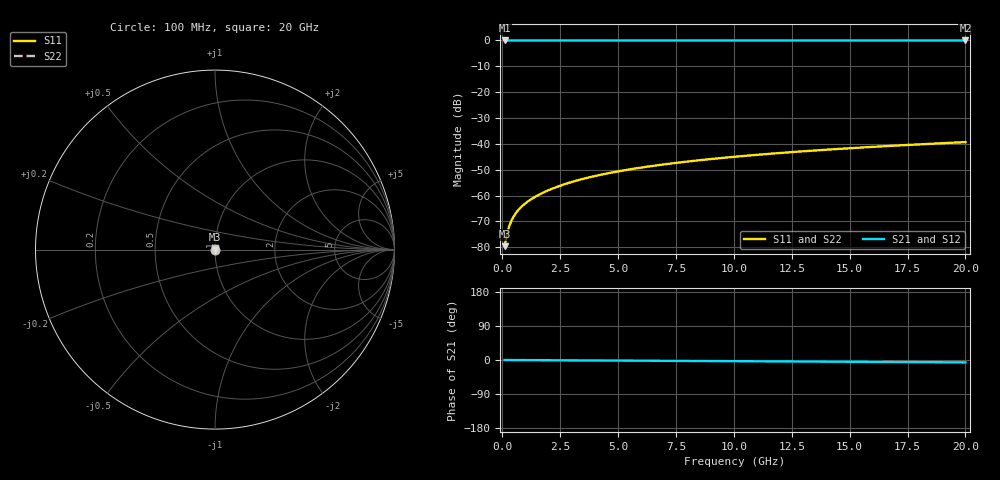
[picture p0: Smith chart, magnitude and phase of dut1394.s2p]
! Touchstone file exported from HFSS 2026.1.0
!  File:  C:/ffzhzh/LocalFiles/Ansys_Project_Files/temp_train_TSV_1394_1783196717_18472.aedt
!  Generated:  04:26:38 AM Jul  5, 2026
!  Design:  TSV
!  Project:  temp_train_TSV_1394_1783196717_18472
! Variables:
!  h_bsmrdl = 2um
!  h_ox = 20um
!  h_rdl = 5um
!  h_sub = 55.89um
!  h_tmrdl = 5um
!  h_tsv = 55.89um
!  h_via = 3um
!  l_bsmrdl = 300um
!  l_sub = 426.78um
!  l_tmrdl = 200um
!  m_sub = 200um
!  pitch = 58.49um
!  r_tsv = 13.39um
!  s_tmrdl = 10um
!  w_bsmrdl = 18um
!  w_sub = 500um
!  w_tmrdl = 12um
!  x_tsv_center1 = 206um
!  x_tsv_center2 = 524um
!  x_tsv_center3 = 736um
!  x_tsv_center4 = 1054um
!  x_tsv_center5 = 1266um
!  x_tsv_center6 = 1584um
# GHz S MA R 50.000000
! Terminal data exported
! Port[1] = TSV1_1_T1
! Port[2] = TSV1_1_T2
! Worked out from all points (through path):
!   200 points, 100 MHz to 20 GHz, reference 50 ohm
!   highest |S21| = 0.00 dB at 100 MHz (marker M1); lowest = 0.0 dB at 20 GHz (marker M2)
!   lowest |S11| = -79.6 dB at 100 MHz (marker M3), VSWR 1.00, Z = 50 + j0.00832 ohm
!   |S11| at or under -10 dB: start of sweep to end of sweep
!   |S22| runs from -79.6 to -39.3 dB; largest |S21 - S12| = 1e-15
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0.1  0.0001051 52.3  0.9999 -0.0  0.9999 -0.0  0.0001051 52.3
! Gamma 0 0 0 0
! Port Impedance 50 0 50 0
0.2  0.0001797 65.9  0.9999 -0.1  0.9999 -0.1  0.0001797 65.9
0.3  0.0002563 70.3  0.9999 -0.1  0.9999 -0.1  0.0002563 70.3
0.4  0.00033 71.9  0.9999 -0.1  0.9999 -0.1  0.00033 71.9
0.5  0.0004 72.7  0.9999 -0.2  0.9999 -0.2  0.0004 72.7
0.6  0.0004665 73.1  0.9999 -0.2  0.9999 -0.2  0.0004665 73.1
0.7  0.00053 73.5  0.9999 -0.2  0.9999 -0.2  0.00053 73.5
0.9  0.0006507 74.2  0.9998 -0.3  0.9998 -0.3  0.0006507 74.2
1.1  0.0007663 75.0  0.9998 -0.4  0.9998 -0.4  0.0007663 75.0
1.3  0.0008796 75.7  0.9998 -0.4  0.9998 -0.4  0.0008796 75.7
1.6  0.001048 76.8  0.9998 -0.5  0.9998 -0.5  0.001048 76.8
1.9  0.001216 77.7  0.9997 -0.6  0.9997 -0.6  0.001216 77.7
2.6  0.001608 79.1  0.9997 -0.8  0.9997 -0.8  0.001608 79.1
3.5  0.002111 80.2  0.9997 -1.1  0.9997 -1.1  0.002111 80.2
4.2  0.002499 80.6  0.9996 -1.3  0.9996 -1.3  0.002499 80.6
5  0.002938 80.9  0.9996 -1.6  0.9996 -1.6  0.002938 80.9
6.8  0.003912 81.3  0.9995 -2.1  0.9995 -2.1  0.003912 81.3
8.3  0.004714 81.3  0.9995 -2.6  0.9995 -2.6  0.004714 81.3
10.1  0.005667 81.3  0.9994 -3.2  0.9994 -3.2  0.005667 81.3
13.4  0.007401 80.9  0.9993 -4.2  0.9993 -4.2  0.007401 80.9
16.7  0.009117 80.4  0.9993 -5.2  0.9993 -5.2  0.009117 80.4
20  0.01081 79.6  0.9992 -6.2  0.9992 -6.2  0.01081 79.6
